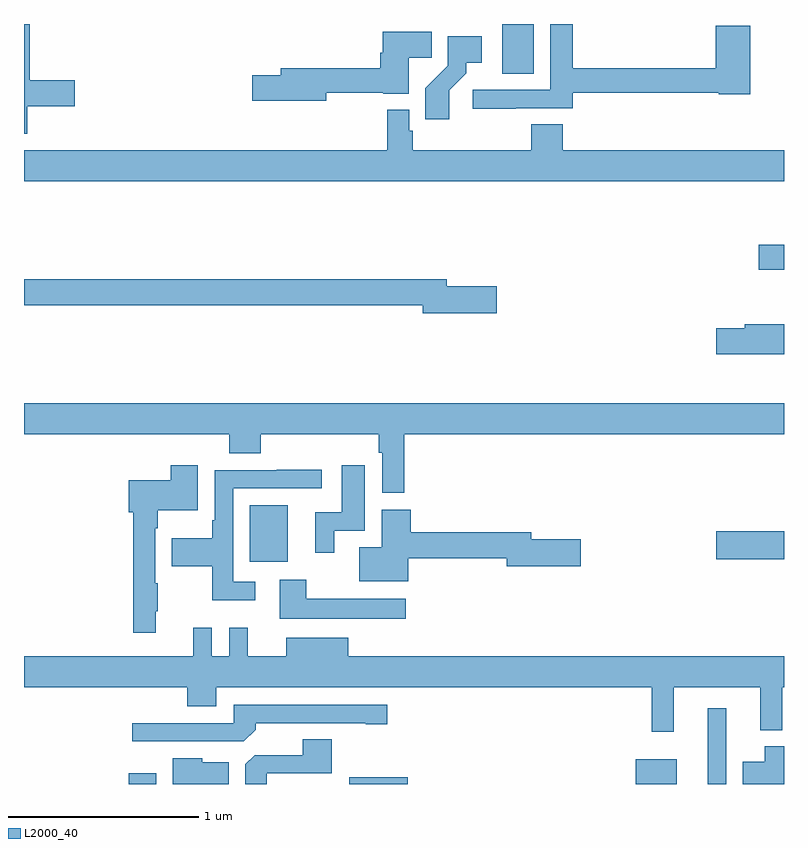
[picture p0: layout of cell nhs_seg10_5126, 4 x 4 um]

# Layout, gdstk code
import gdstk
lib = gdstk.Library(unit=1e-6, precision=1e-09)
def R(c, l, rs):  # rectangles x0, y0, x1, y1
    for r in rs: c.add(gdstk.rectangle(r[:2], r[2:], *l))
def P(c, l, *ps):  # polygons
    for p in ps: c.add(gdstk.Polygon(p, *l))
L2000_40 = (2000, 40)

nhs_seg10_5126 = lib.new_cell('nhs_seg10_5126')
R(nhs_seg10_5126, L2000_40, [(409.55,1274.5,409.696,1274.557), (410.712,1274.5,411.019,1274.536), (412.22,1274.5,412.435,1274.629), (412.598,1274.5,412.695,1274.899), (410.189,1275.671,410.389,1275.967), (412.644,1275.683,413,1275.83), (412.866,1277.207,413,1277.337), (411.518,1278.238,411.682,1278.5)])
P(nhs_seg10_5126, L2000_40, [(409.018,1278.068),(409.267,1278.068),(409.267,1278.203),(409.031,1278.203),(409.031,1278.5),(409,1278.5),(409,1277.922),(409.018,1277.922)],
  [(411.587,1278.057),(411.887,1278.057),(411.887,1278.138),(412.656,1278.138),(412.656,1278.13),(412.823,1278.13),(412.823,1278.49),(412.64,1278.49),(412.64,1278.266),(411.887,1278.266),(411.887,1278.5),(411.771,1278.5),(411.771,1278.153),(411.363,1278.153),(411.363,1278.055),(411.587,1278.055)],
  [(410.59,1278.138),(410.892,1278.138),(410.892,1278.134),(411.025,1278.134),(411.025,1278.322),(411.146,1278.322),(411.146,1278.46),(410.888,1278.46),(410.888,1278.35),(410.876,1278.35),(410.876,1278.266),(410.351,1278.266),(410.351,1278.23),(410.202,1278.23),(410.202,1278.095),(410.59,1278.095)],
  [(411.238,1278.151),(411.328,1278.241),(411.328,1278.296),(411.409,1278.296),(411.409,1278.436),(411.231,1278.436),(411.231,1278.281),(411.112,1278.162),(411.112,1278),(411.238,1278)],
  [(413,1277.836),(411.836,1277.836),(411.836,1277.972),(411.671,1277.972),(411.671,1277.836),(411.047,1277.836),(411.047,1277.937),(411.027,1277.937),(411.027,1278.049),(410.911,1278.049),(410.911,1277.836),(409,1277.836),(409,1277.672),(413,1277.672)],
  [(411.487,1277.12),(411.226,1277.12),(411.226,1277.156),(409,1277.156),(409,1277.02),(411.098,1277.02),(411.098,1276.978),(411.487,1276.978)],
  [(413,1276.919),(412.793,1276.919),(412.793,1276.898),(412.644,1276.898),(412.644,1276.763),(413,1276.763)],
  [(411.002,1276.34),(413,1276.34),(413,1276.504),(409,1276.504),(409,1276.34),(410.081,1276.34),(410.081,1276.241),(410.246,1276.241),(410.246,1276.34),(410.866,1276.34),(410.866,1276.244),(410.886,1276.244),(410.886,1276.032),(411.002,1276.032)],
  [(410.632,1275.834),(410.794,1275.834),(410.794,1276.177),(410.672,1276.177),(410.672,1275.93),(410.534,1275.93),(410.534,1275.717),(410.632,1275.717)],
  [(409.694,1275.409),(409.705,1275.409),(409.705,1275.557),(409.692,1275.557),(409.692,1275.845),(409.705,1275.845),(409.705,1275.941),(409.915,1275.941),(409.915,1276.177),(409.772,1276.177),(409.772,1276.099),(409.55,1276.099),(409.55,1275.929),(409.576,1275.929),(409.576,1275.297),(409.694,1275.297)],
  [(410.218,1275.564),(410.1,1275.564),(410.1,1276.056),(410.566,1276.056),(410.566,1276.154),(410.329,1276.154),(410.329,1276.152),(410.004,1276.152),(410.004,1275.889),(409.992,1275.889),(409.992,1275.793),(409.777,1275.793),(409.777,1275.646),(409.992,1275.646),(409.992,1275.467),(410.218,1275.467)],
  [(411.022,1275.688),(411.542,1275.688),(411.542,1275.646),(411.931,1275.646),(411.931,1275.788),(411.67,1275.788),(411.67,1275.824),(411.035,1275.824),(411.035,1275.943),(410.882,1275.943),(410.882,1275.745),(410.765,1275.745),(410.765,1275.566),(411.022,1275.566)],
  [(411.01,1275.475),(410.485,1275.475),(410.485,1275.574),(410.345,1275.574),(410.345,1275.371),(411.01,1275.371)],
  [(412.421,1275.008),(412.874,1275.008),(412.874,1274.783),(412.991,1274.783),(412.991,1275.008),(413,1275.008),(413,1275.172),(410.707,1275.172),(410.707,1275.271),(410.381,1275.271),(410.381,1275.172),(410.177,1275.172),(410.177,1275.322),(410.079,1275.322),(410.079,1275.172),(409.989,1275.172),(409.989,1275.322),(409.892,1275.322),(409.892,1275.172),(409,1275.172),(409,1275.008),(409.859,1275.008),(409.859,1274.909),(410.011,1274.909),(410.011,1275.008),(412.303,1275.008),(412.303,1274.775),(412.421,1274.775)],
  [(410.219,1274.786),(410.219,1274.82),(410.798,1274.82),(410.798,1274.815),(410.911,1274.815),(410.911,1274.916),(410.103,1274.916),(410.103,1274.82),(409.569,1274.82),(409.569,1274.724),(410.157,1274.724)],
  [(410.277,1274.556),(410.621,1274.556),(410.621,1274.735),(410.468,1274.735),(410.468,1274.652),(410.214,1274.652),(410.165,1274.603),(410.165,1274.5),(410.277,1274.5)],
  [(413,1274.698),(412.898,1274.698),(412.898,1274.617),(412.784,1274.617),(412.784,1274.5),(413,1274.5)],
  [(410.077,1274.614),(409.938,1274.614),(409.938,1274.635),(409.784,1274.635),(409.784,1274.5),(410.077,1274.5)])

lib.write_gds('nhs_seg10_5126.gds')
